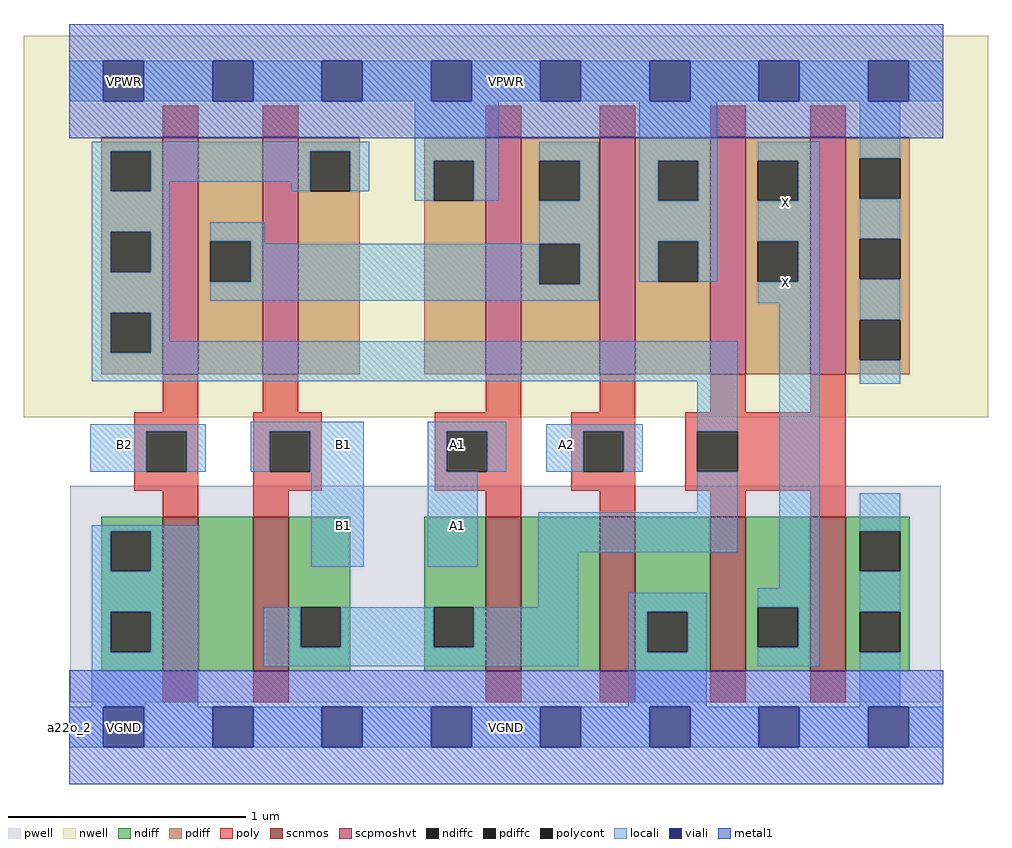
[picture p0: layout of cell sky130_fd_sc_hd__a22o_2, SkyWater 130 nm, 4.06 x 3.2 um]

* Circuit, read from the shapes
.subckt sky130_fd_sc_hd__a22o_2 A1 A2 B1 B2 VGND VNB VPB VPWR X
XM1 n1 B2 VGND VNB sky130_fd_pr__nfet_01v8 w=0.65 l=0.15
XM2 n2 B1 n1 VNB sky130_fd_pr__nfet_01v8 w=0.65 l=0.15
XM3 n3 A1 n2 VNB sky130_fd_pr__nfet_01v8 w=0.65 l=0.15
XM4 VGND A2 n3 VNB sky130_fd_pr__nfet_01v8 w=0.65 l=0.15
XM5 X n2 VGND VNB sky130_fd_pr__nfet_01v8 w=0.65 l=0.15 m=2
XM6 n4 B2 n2 VPB sky130_fd_pr__pfet_01v8_hvt w=1 l=0.15
XM7 n2 B1 n4 VPB sky130_fd_pr__pfet_01v8_hvt w=1 l=0.15
XM8 n4 A1 VPWR VPB sky130_fd_pr__pfet_01v8_hvt w=1 l=0.15
XM9 VPWR A2 n4 VPB sky130_fd_pr__pfet_01v8_hvt w=1 l=0.15
XM10 X n2 VPWR VPB sky130_fd_pr__pfet_01v8_hvt w=1 l=0.15 m=2
.ends

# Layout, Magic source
magic
tech sky130A
magscale 1 2
<< nwell >>
rect -38 261 774 582
<< pwell >>
rect 1 21 734 203
rect 30 -17 64 21
<< scnmos >>
rect 79 47 109 177
rect 155 47 185 177
rect 351 47 381 177
rect 447 47 477 177
rect 540 47 570 177
rect 624 47 654 177
<< scpmoshvt >>
rect 79 297 109 497
rect 163 297 193 497
rect 351 297 381 497
rect 447 297 477 497
rect 540 297 570 497
rect 624 297 654 497
<< ndiff >>
rect 27 165 79 177
rect 27 131 35 165
rect 69 131 79 165
rect 27 97 79 131
rect 27 63 35 97
rect 69 63 79 97
rect 27 47 79 63
rect 109 47 155 177
rect 185 101 237 177
rect 185 67 195 101
rect 229 67 237 101
rect 185 47 237 67
rect 299 101 351 177
rect 299 67 307 101
rect 341 67 351 101
rect 299 47 351 67
rect 381 47 447 177
rect 477 97 540 177
rect 477 63 487 97
rect 521 63 540 97
rect 477 47 540 63
rect 570 101 624 177
rect 570 67 580 101
rect 614 67 624 101
rect 570 47 624 67
rect 654 165 708 177
rect 654 131 666 165
rect 700 131 708 165
rect 654 97 708 131
rect 654 63 666 97
rect 700 63 708 97
rect 654 47 708 63
<< pdiff >>
rect 27 485 79 497
rect 27 451 35 485
rect 69 451 79 485
rect 27 417 79 451
rect 27 383 35 417
rect 69 383 79 417
rect 27 349 79 383
rect 27 315 35 349
rect 69 315 79 349
rect 27 297 79 315
rect 109 409 163 497
rect 109 375 119 409
rect 153 375 163 409
rect 109 297 163 375
rect 193 485 245 497
rect 193 451 203 485
rect 237 451 245 485
rect 193 297 245 451
rect 299 477 351 497
rect 299 443 307 477
rect 341 443 351 477
rect 299 297 351 443
rect 381 477 447 497
rect 381 443 396 477
rect 430 443 447 477
rect 381 407 447 443
rect 381 373 396 407
rect 430 373 447 407
rect 381 297 447 373
rect 477 477 540 497
rect 477 443 496 477
rect 530 443 540 477
rect 477 409 540 443
rect 477 375 496 409
rect 530 375 540 409
rect 477 297 540 375
rect 570 477 624 497
rect 570 443 580 477
rect 614 443 624 477
rect 570 409 624 443
rect 570 375 580 409
rect 614 375 624 409
rect 570 297 624 375
rect 654 479 708 497
rect 654 445 666 479
rect 700 445 708 479
rect 654 411 708 445
rect 654 377 666 411
rect 700 377 708 411
rect 654 343 708 377
rect 654 309 666 343
rect 700 309 708 343
rect 654 297 708 309
<< ndiffc >>
rect 35 131 69 165
rect 35 63 69 97
rect 195 67 229 101
rect 307 67 341 101
rect 487 63 521 97
rect 580 67 614 101
rect 666 131 700 165
rect 666 63 700 97
<< pdiffc >>
rect 35 451 69 485
rect 35 383 69 417
rect 35 315 69 349
rect 119 375 153 409
rect 203 451 237 485
rect 307 443 341 477
rect 396 443 430 477
rect 396 373 430 407
rect 496 443 530 477
rect 496 375 530 409
rect 580 443 614 477
rect 580 375 614 409
rect 666 445 700 479
rect 666 377 700 411
rect 666 309 700 343
<< poly >>
rect 79 497 109 523
rect 163 497 193 523
rect 351 497 381 523
rect 447 497 477 523
rect 540 497 570 523
rect 624 497 654 523
rect 79 265 109 297
rect 163 265 193 297
rect 351 265 381 297
rect 447 265 477 297
rect 540 265 570 297
rect 624 265 654 297
rect 55 249 109 265
rect 55 215 65 249
rect 99 215 109 249
rect 55 199 109 215
rect 79 177 109 199
rect 155 249 213 265
rect 155 215 169 249
rect 203 215 213 249
rect 155 199 213 215
rect 308 249 381 265
rect 308 215 318 249
rect 352 215 381 249
rect 308 199 381 215
rect 423 249 477 265
rect 423 215 433 249
rect 467 215 477 249
rect 423 199 477 215
rect 519 249 654 265
rect 519 215 529 249
rect 563 215 654 249
rect 519 199 654 215
rect 155 177 185 199
rect 351 177 381 199
rect 447 177 477 199
rect 540 177 570 199
rect 624 177 654 199
rect 79 21 109 47
rect 155 21 185 47
rect 351 21 381 47
rect 447 21 477 47
rect 540 21 570 47
rect 624 21 654 47
<< polycont >>
rect 65 215 99 249
rect 169 215 203 249
rect 318 215 352 249
rect 433 215 467 249
rect 529 215 563 249
<< locali >>
rect 0 527 29 561
rect 63 527 121 561
rect 155 527 213 561
rect 247 527 305 561
rect 339 527 397 561
rect 431 527 489 561
rect 523 527 581 561
rect 615 527 673 561
rect 707 527 736 561
rect 19 485 253 493
rect 19 451 35 485
rect 69 459 203 485
rect 69 451 85 459
rect 187 451 203 459
rect 237 451 253 485
rect 291 477 362 527
rect 19 417 85 451
rect 291 443 307 477
rect 341 443 362 477
rect 396 477 446 493
rect 430 443 446 477
rect 19 383 35 417
rect 69 383 85 417
rect 19 349 85 383
rect 119 409 165 425
rect 153 407 165 409
rect 396 407 446 443
rect 153 375 396 407
rect 119 373 396 375
rect 430 373 446 407
rect 480 477 546 527
rect 480 443 496 477
rect 530 443 546 477
rect 480 409 546 443
rect 480 375 496 409
rect 530 375 546 409
rect 580 477 632 493
rect 614 443 632 477
rect 580 409 632 443
rect 614 375 632 409
rect 119 359 446 373
rect 580 357 632 375
rect 19 315 35 349
rect 69 325 85 349
rect 69 315 563 325
rect 19 291 563 315
rect 18 249 115 255
rect 18 215 65 249
rect 99 215 115 249
rect 153 249 248 257
rect 153 215 169 249
rect 203 215 248 249
rect 19 165 109 170
rect 19 131 35 165
rect 69 131 109 165
rect 204 135 248 215
rect 302 249 368 257
rect 302 215 318 249
rect 352 215 368 249
rect 402 249 483 255
rect 402 215 433 249
rect 467 215 483 249
rect 529 249 563 291
rect 302 135 344 215
rect 529 181 563 215
rect 395 147 563 181
rect 19 97 109 131
rect 395 101 429 147
rect 598 117 632 357
rect 666 479 700 527
rect 666 411 700 445
rect 666 343 700 377
rect 666 289 700 309
rect 19 63 35 97
rect 69 63 109 97
rect 19 17 109 63
rect 164 67 195 101
rect 229 67 307 101
rect 341 67 429 101
rect 164 51 429 67
rect 471 97 537 113
rect 471 63 487 97
rect 521 63 537 97
rect 471 17 537 63
rect 580 101 632 117
rect 614 67 632 101
rect 580 51 632 67
rect 666 165 700 197
rect 666 97 700 131
rect 666 17 700 63
rect 0 -17 29 17
rect 63 -17 121 17
rect 155 -17 213 17
rect 247 -17 305 17
rect 339 -17 397 17
rect 431 -17 489 17
rect 523 -17 581 17
rect 615 -17 673 17
rect 707 -17 736 17
<< viali >>
rect 29 527 63 561
rect 121 527 155 561
rect 213 527 247 561
rect 305 527 339 561
rect 397 527 431 561
rect 489 527 523 561
rect 581 527 615 561
rect 673 527 707 561
rect 29 -17 63 17
rect 121 -17 155 17
rect 213 -17 247 17
rect 305 -17 339 17
rect 397 -17 431 17
rect 489 -17 523 17
rect 581 -17 615 17
rect 673 -17 707 17
<< metal1 >>
rect 0 561 736 592
rect 0 527 29 561
rect 63 527 121 561
rect 155 527 213 561
rect 247 527 305 561
rect 339 527 397 561
rect 431 527 489 561
rect 523 527 581 561
rect 615 527 673 561
rect 707 527 736 561
rect 0 496 736 527
rect 0 17 736 48
rect 0 -17 29 17
rect 63 -17 121 17
rect 155 -17 213 17
rect 247 -17 305 17
rect 339 -17 397 17
rect 431 -17 489 17
rect 523 -17 581 17
rect 615 -17 673 17
rect 707 -17 736 17
rect 0 -48 736 -17
<< labels >>
flabel locali s 310 221 344 255 0 FreeSans 200 0 0 0 A1
port 1 nsew signal input
flabel locali s 402 221 436 255 0 FreeSans 200 0 0 0 A2
port 2 nsew signal input
flabel locali s 586 425 620 459 0 FreeSans 200 0 0 0 X
port 9 nsew signal output
flabel locali s 30 221 64 255 0 FreeSans 200 0 0 0 B2
port 4 nsew signal input
flabel locali s 214 221 248 255 0 FreeSans 200 0 0 0 B1
port 3 nsew signal input
flabel locali s 310 153 344 187 0 FreeSans 200 0 0 0 A1
port 1 nsew signal input
flabel locali s 214 153 248 187 0 FreeSans 200 0 0 0 B1
port 3 nsew signal input
flabel locali s 586 357 620 391 0 FreeSans 200 0 0 0 X
port 9 nsew signal output
flabel metal1 s 30 527 64 561 0 FreeSans 200 0 0 0 VPWR
port 8 nsew power bidirectional abutment
flabel metal1 s 30 -17 64 17 0 FreeSans 200 0 0 0 VGND
port 5 nsew ground bidirectional abutment
flabel nwell s 30 527 64 561 0 FreeSans 200 0 0 0 VPB
port 7 nsew power bidirectional
flabel pwell s 30 -17 64 17 0 FreeSans 200 0 0 0 VNB
port 6 nsew ground bidirectional
rlabel comment s 0 0 0 0 4 a22o_2
rlabel metal1 s 0 -48 736 48 1 VGND
port 5 nsew ground bidirectional abutment
rlabel metal1 s 0 496 736 592 1 VPWR
port 8 nsew power bidirectional abutment
<< properties >>
string FIXED_BBOX 0 0 736 544
string GDS_END 4074066
string GDS_FILE $PDKPATH/libs.ref/sky130_fd_sc_hd/gds/sky130_fd_sc_hd.gds
string GDS_START 4067318
string LEFclass CORE
string LEFsite unithd
string LEFsymmetry X Y R90
string path 0.000 0.000 18.400 0.000 
<< end >>
